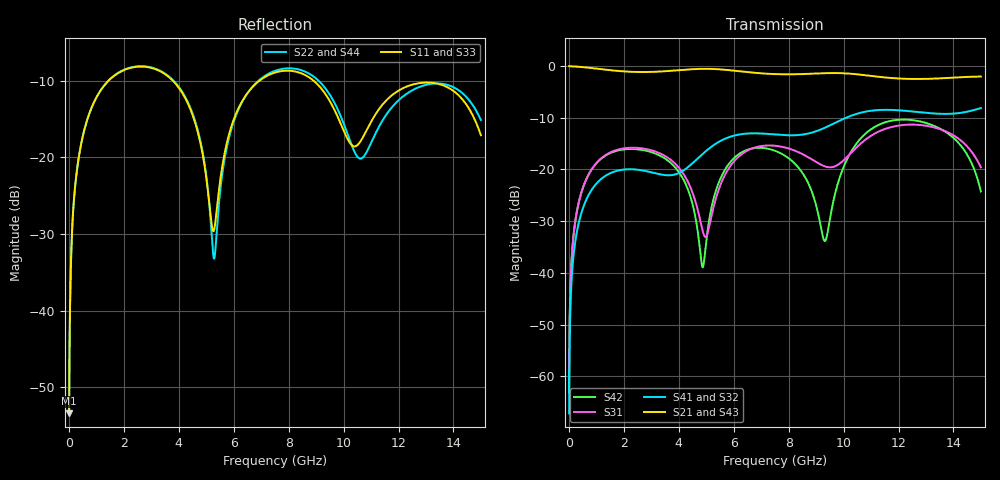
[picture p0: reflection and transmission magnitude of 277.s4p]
! Created with skrf 1.8.0 (http://scikit-rf.org).
# GHz S RI R 50.0
!freq ReS11 ImS11 ReS12 ImS12 ReS13 ImS13
! ReS14 ImS14
! ReS21 ImS21 ReS22 ImS22 ReS23 ImS23
! ReS24 ImS24
! ReS31 ImS31 ReS32 ImS32 ReS33 ImS33
! ReS34 ImS34
! ReS41 ImS41 ReS42 ImS42 ReS43 ImS43
! ReS44 ImS44
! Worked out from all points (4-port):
!   2499 points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, 5 MHz to 15 GHz, reference 50 ohm
!   strongest paths, dB at 5 MHz, 3.476 GHz, 7.19 GHz, 11.1 GHz, 15 GHz:
!     S21: 0.0, -1.0, -1.5, -2.0, -2.0
!     S43: 0.0, -1.0, -1.5, -2.0, -2.0
!     S41: -67.2, -21.1, -13.1, -8.6, -8.1
!     S32: -67.2, -21.1, -13.1, -8.6, -8.1
!     S31: -63.2, -17.3, -15.4, -13.2, -19.6
!     S42: -63.2, -17.8, -15.9, -11.9, -24.2
!   lowest |S11| = -53.4 dB at 5 MHz (marker M1), VSWR 1.00, Z = 50.2 + j0.13 ohm
!   |S11| at or under -10 dB: start of sweep to 1.444 GHz; 3.78 GHz to 6.938 GHz (3.158 GHz wide, 58.9 % of centre); 8.906 GHz to end of sweep
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0.005  0.0017 0.00129  0.9983 -0.00331  8.63e-05 0.00069  -8.36e-05 -0.00043
       0.9983 -0.00331  0.0017 0.00129  -8.36e-05 -0.00043  8.61e-05 0.00069
       8.63e-05 0.00069  -8.36e-05 -0.00043  0.0017 0.00129  0.9983 -0.00331
       -8.36e-05 -0.00043  8.61e-05 0.00069  0.9983 -0.00331  0.0017 0.00129
0.3126303  0.0256 0.0847  0.965 -0.2058  0.0123 0.0407  -0.00999 -0.0251
           0.965 -0.2058  0.0257 0.0847  -0.00999 -0.0251  0.0117 0.0408
           0.0123 0.0407  -0.00999 -0.0251  0.0256 0.0847  0.965 -0.2058
           -0.00999 -0.0251  0.0117 0.0408  0.965 -0.2058  0.0257 0.0847
1.569404  0.2835 0.1721  0.5159 -0.748  0.1392 0.053  -0.0937 -0.000463
          0.5159 -0.748  0.286 0.1704  -0.0936 -0.000498  0.1322 0.0633
          0.1392 0.053  -0.0936 -0.000498  0.2835 0.1721  0.5159 -0.7479
          -0.0937 -0.000463  0.1322 0.0633  0.5159 -0.7479  0.2859 0.1704
5.283451  0.0332 0.0051  -0.9353 -0.0555  -0.00843 0.0444  -0.00531 0.1731
          -0.9353 -0.0555  0.0218 -0.00117  -0.00555 0.173  0.0203 0.0504
          -0.00843 0.0444  -0.00555 0.173  0.0348 0.00614  -0.9353 -0.0554
          -0.00531 0.1731  0.0203 0.0504  -0.9353 -0.0554  0.0199 -0.000279
8.128387  0.3652 -0.0166  -0.0109 0.8327  0.1058 -0.114  0.2088 -0.0476
          -0.0109 0.8327  0.379 -0.0268  0.2084 -0.0462  0.1072 -0.0548
          0.1058 -0.114  0.2084 -0.0462  0.3661 -0.0201  -0.0117 0.8324
          0.2088 -0.0476  0.1072 -0.0548  -0.0117 0.8324  0.3795 -0.0227
10.87328  0.1462 0.0493  0.8102 -0.0353  0.00479 0.2011  -0.0375 -0.3637
          0.8102 -0.0353  0.1097 0.0174  -0.0358 -0.3643  0.0827 0.2158
          0.00479 0.2011  -0.0358 -0.3643  0.1442 0.0472  0.8106 -0.0327
          -0.0375 -0.3637  0.0827 0.2158  0.8106 -0.0327  0.1108 0.0147
15  0.1075 -0.0888  -0.5512 -0.5676  -0.0143 -0.1037  -0.2634 0.2914
    -0.5512 -0.5676  0.1258 -0.122  -0.2648 0.2895  0.0425 -0.0442
    -0.0143 -0.1037  -0.2648 0.2895  0.1045 -0.0845  -0.5499 -0.5704
    -0.2634 0.2914  0.0425 -0.0442  -0.5499 -0.5704  0.121 -0.1179
